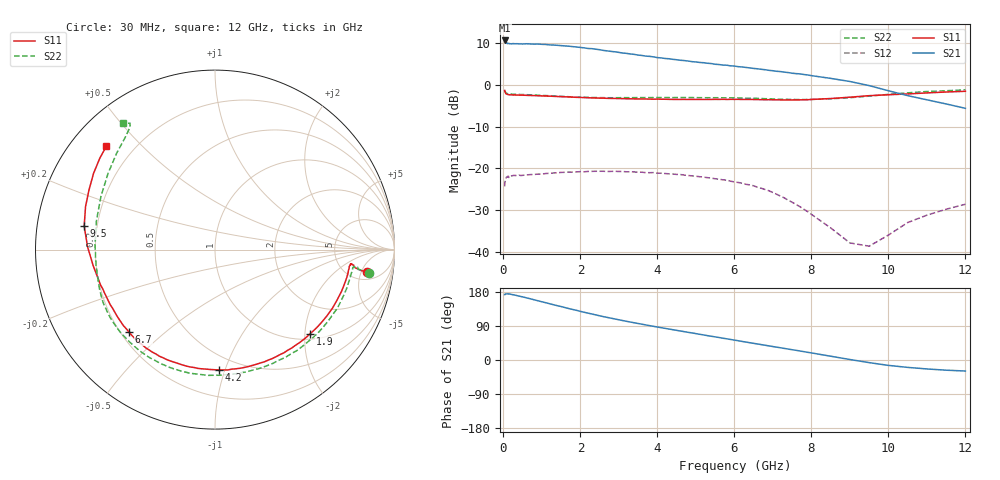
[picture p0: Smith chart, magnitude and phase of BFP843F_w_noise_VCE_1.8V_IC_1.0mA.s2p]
! Infineon Technologies  Discrete & RF Semiconductors
! BFP843F
! VCE =  1.8 V,  IC =  1.0 mA
! Common Emitter S-Parameters:  Aug 2013
# GHz  S  MA  R  50
!  f  S11  S21  S12  S22
! GHz  MAG  ANG  MAG  ANG  MAG  ANG  MAG  ANG
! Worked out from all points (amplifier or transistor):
!   103 points, 30 MHz to 12 GHz, reference 50 ohm
!   highest |S21| = 10.6 dB at 30 MHz (marker M1)
!   |S21| within 3 dB of that: start of sweep to 3.099 GHz
!   unconditionally stable (mu >= 1): 97.73 MHz to 1.064 GHz; 4.642 GHz to end of sweep
!   at 400 MHz: K = 1.03, MAG = 14.6 dB, |S12| = -21.6 dB
!   at 3.7 GHz: K = 0.94, MSG = 13.9 dB, |S12| = -21.0 dB
!   at 12 GHz: K = 2.10, MAG = 5.5 dB, |S12| = -28.5 dB
!   lowest NFmin = 1.53 dB at 450 MHz
!   S11 on the Smith chart (normalised r, x): 30 MHz: 6.90, -6.27; 1.9 GHz: 1.13, -2.13; 4.2 GHz: 0.39, -0.95; 6.7 GHz: 0.23, -0.38; 9.5 GHz: 0.15, +0.09; 12 GHz: 0.10, +0.40
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0.03  0.8536 -8.3  3.382 172.6  0.061 38.6  0.8672 -8.5
0.05  0.8044 -7.7  3.211 174.2  0.074 25.2  0.823 -7.9
0.07  0.7789 -7.0  3.158 174.3  0.0771 19.7  0.8001 -7.0
0.15  0.7588 -6.1  3.1 174.3  0.08 10.1  0.7746 -7.3
0.6  0.7474 -14.0  3.089 164.0  0.0838 2.1  0.7611 -19.5
0.9  0.7388 -20.3  3.064 156.2  0.0858 0.7  0.7497 -28.7
1.4  0.7242 -31.0  2.959 143.3  0.0889 -2.8  0.7295 -44.5
1.9  0.7074 -41.5  2.824 131.0  0.091 -6.3  0.7114 -60.3
2.1  0.7027 -45.8  2.758 125.9  0.0913 -8.5  0.7083 -66.5
2.5  0.6917 -54.2  2.622 116.6  0.0926 -12.1  0.7017 -78.0
2.9  0.6857 -62.3  2.474 108.2  0.0925 -16.2  0.7005 -88.3
4.1  0.6721 -86.2  2.093 85.2  0.0878 -28.2  0.7027 -113.0
4.2  0.6712 -88.1  2.06 83.5  0.087 -28.6  0.7032 -114.9
5.2  0.6669 -108.1  1.834 66.1  0.0788 -39.7  0.701 -132.5
6.1  0.6697 -125.1  1.645 50.8  0.068 -50.2  0.6952 -147.8
6.7  0.6636 -136.3  1.529 40.6  0.058 -58.9  0.6843 -157.9
7.7  0.6597 -156.6  1.349 23.8  0.035 -68.0  0.6673 -176.1
8.5  0.6846 -172.5  1.192 10.0  0.0195 -60.3  0.6796 166.5
9  0.7103 178.7  1.094 1.3  0.0129 -40.2  0.701 155.1
9.5  0.7406 169.8  0.977 -6.9  0.0118 -1.0  0.7314 144.6
10.5  0.7767 154.7  0.741 -19.5  0.0226 32.1  0.8006 128.7
12  0.8355 136.4  0.523 -29.1  0.0374 38.4  0.8697 126.1
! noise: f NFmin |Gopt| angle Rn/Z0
0.45  1.53  0.43  11  0.36
0.9  1.54  0.44  19  0.36
1.5  1.7  0.44  27  0.37
1.9  1.8  0.43  38  0.38
2.4  1.86  0.43  49  0.39
3.5  2.02  0.46  72  0.44
5.5  2.23  0.42  117  0.53
10  4.06  0.58  -144  0.6
